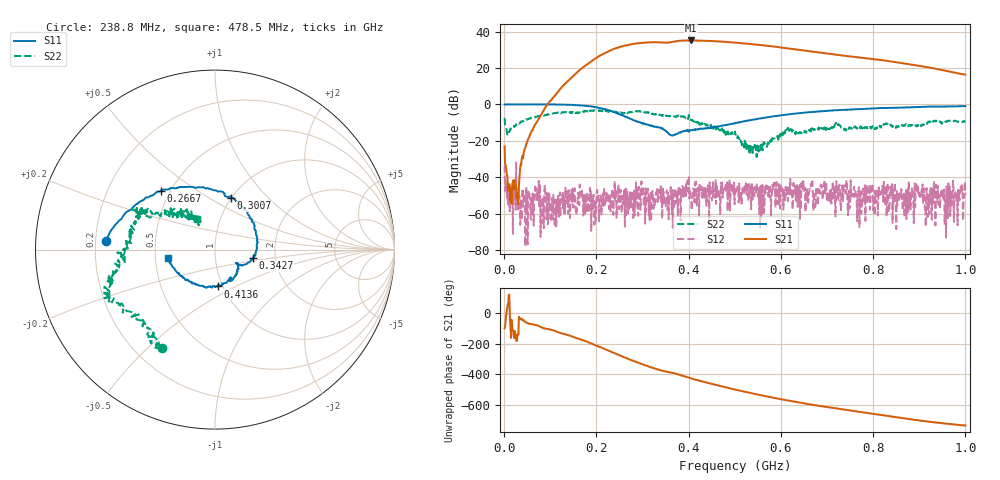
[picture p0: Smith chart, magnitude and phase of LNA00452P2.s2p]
! Created with skrf 1.9.0 (http://scikit-rf.org).
# Hz S RI R 50.0
!freq ReS11 ImS11 ReS21 ImS21 ReS12 ImS12 ReS22 ImS22
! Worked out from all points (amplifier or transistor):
!   1001 points, 1 MHz to 1 GHz, reference 50 ohm
!   highest |S21| = 35.1 dB at 404.6 MHz (marker M1)
!   |S21| within 3 dB of that: 259.7 MHz to 572.2 MHz (312.5 MHz wide, 75.1 % of centre)
!   unconditionally stable (mu >= 1): 248 MHz to 285.7 MHz; 298.3 MHz to 400.3 MHz; 400.8 MHz to end of sweep (the widest 3 of 37)
!   at 166.8 MHz: K = 1.14, MAG = 32.6 dB, |S12| = -50.3 dB
!   at 500.5 MHz: K = 1.76, MAG = 34.5 dB, |S12| = -45.1 dB
!   at 1 GHz: K = 3.76, MAG = 24.4 dB, |S12| = -49.8 dB
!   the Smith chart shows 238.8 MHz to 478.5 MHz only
!   S11 on the Smith chart (normalised r, x): 238.8 MHz: 0.24, +0.04; 266.7 MHz: 0.44, +0.36; 300.7 MHz: 1.00, +0.63; 342.7 MHz: 1.52, -0.15; 413.6 MHz: 0.95, -0.41; 478.5 MHz: 0.58, -0.06
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1000000  0.9908 0.00517  -0.0118 -0.0697  -0.0209 -0.00189  0.2753 0.3161
1.09891e8  0.525 -0.847  -0.8092 -1.54  0.000433 1.65e-05  0.4432 -0.3803
1.67833e8  -0.1993 -0.9132  -9.666 -0.875  -0.00142 0.00246  0.0519 -0.6302
2.08792e8  -0.6521 -0.4489  -16.21 15.33  -0.00166 -0.00271  -0.1969 -0.6466
2.38762e8  -0.6101 0.0469  -4.746 33.27  -0.00148 -0.00416  -0.2969 -0.5506
2.66734e8  -0.3023 0.3278  19.14 38.13  -0.00313 0.00309  -0.4435 -0.3598
3.007e8  0.0899 0.2857  44.64 20.67  -0.00318 -0.000916  -0.5714 -0.1832
3.18682e8  0.2051 0.155  50.71 5.596  -0.000528 0.000309  -0.5545 -0.1255
3.34666e8  0.2329 0.0115  50.06 -8.349  0.00124 0.0022  -0.5184 -0.0409
3.42658e8  0.2094 -0.0455  48.11 -13.98  0.000624 0.000367  -0.5127 0.000113
3.74626e8  0.128 -0.0867  43.19 -33.84  -0.000866 0.00245  -0.4215 0.1934
4.04596e8  0.0579 -0.1845  23.87 -51.92  0.00144 0.00191  -0.3236 0.2017
4.13587e8  0.0161 -0.2052  16.87 -54.25  0.00101 0.00709  -0.2596 0.208
4.43557e8  -0.1285 -0.1801  -6.399 -54.93  0.00147 -0.00299  -0.1553 0.2253
4.78522e8  -0.2643 -0.0489  -28.67 -43.91  0.00201 0.00428  -0.0998 0.1694
5.005e8  -0.2915 0.0656  -37.64 -33.34  -0.00475 -0.00287  -0.1191 0.1337
5.4046e8  -0.2554 0.2875  -43.2 -11.53  0.0044 0.000483  -0.062 0.024
5.88412e8  -0.0763 0.4709  -37.07 9.718  0.000434 -0.00138  -0.1091 -0.0553
6.67333e8  0.303 0.5404  -15.29 23.66  -0.00307 -0.00512  -0.2153 -0.0442
7.53247e8  0.6184 0.3835  2.127 20.46  0.000607 -0.00341  -0.213 0.0183
8.34166e8  0.7877 0.1516  10.13 11.64  -0.00114 0.000113  -0.2832 0.0177
1e9  0.8137 -0.3828  6.434 -1.361  -0.00322 0.00044  -0.2686 0.2026
